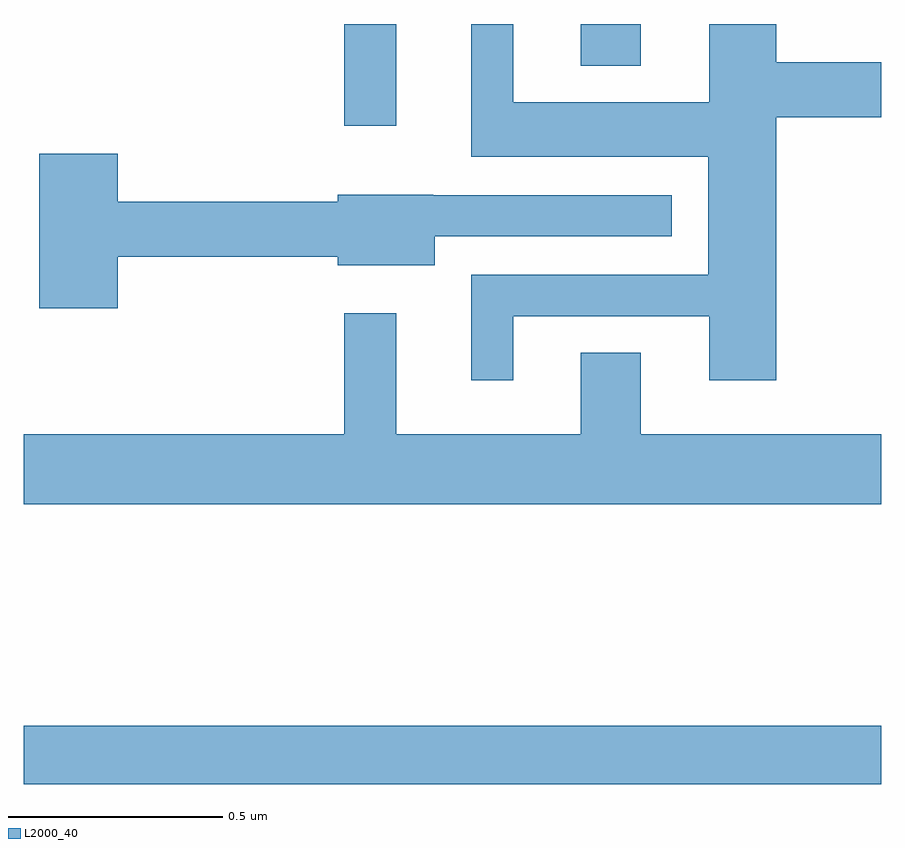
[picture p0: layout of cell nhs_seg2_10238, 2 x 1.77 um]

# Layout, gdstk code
import gdstk
lib = gdstk.Library(unit=1e-6, precision=1e-09)
def R(c, l, rs):  # rectangles x0, y0, x1, y1
    for r in rs: c.add(gdstk.rectangle(r[:2], r[2:], *l))
def P(c, l, *ps):  # polygons
    for p in ps: c.add(gdstk.Polygon(p, *l))
L2000_40 = (2000, 40)

nhs_seg2_10238 = lib.new_cell('nhs_seg2_10238')
R(nhs_seg2_10238, L2000_40, [(239,603.028,241,603.164), (239.748,604.563,239.869,604.8), (240.299,604.703,240.439,604.8)])
P(nhs_seg2_10238, L2000_40, [(240.142,604.119),(240.599,604.119),(240.599,603.969),(240.755,603.969),(240.755,604.582),(241,604.582),(241,604.711),(240.755,604.711),(240.755,604.8),(240.599,604.8),(240.599,604.618),(240.142,604.618),(240.142,604.8),(240.044,604.8),(240.044,604.49),(240.596,604.49),(240.596,604.215),(240.044,604.215),(240.044,603.969),(240.142,603.969)],
  [(239.219,604.257),(239.732,604.257),(239.732,604.238),(239.959,604.238),(239.959,604.305),(240.511,604.305),(240.511,604.401),(239.955,604.401),(239.955,604.402),(239.732,604.402),(239.732,604.385),(239.219,604.385),(239.219,604.498),(239.036,604.498),(239.036,604.137),(239.219,604.137)],
  [(241,603.844),(240.439,603.844),(240.439,604.034),(240.299,604.034),(240.299,603.844),(239.869,603.844),(239.869,604.126),(239.748,604.126),(239.748,603.844),(239,603.844),(239,603.68),(241,603.68)])

lib.write_gds('nhs_seg2_10238.gds')
